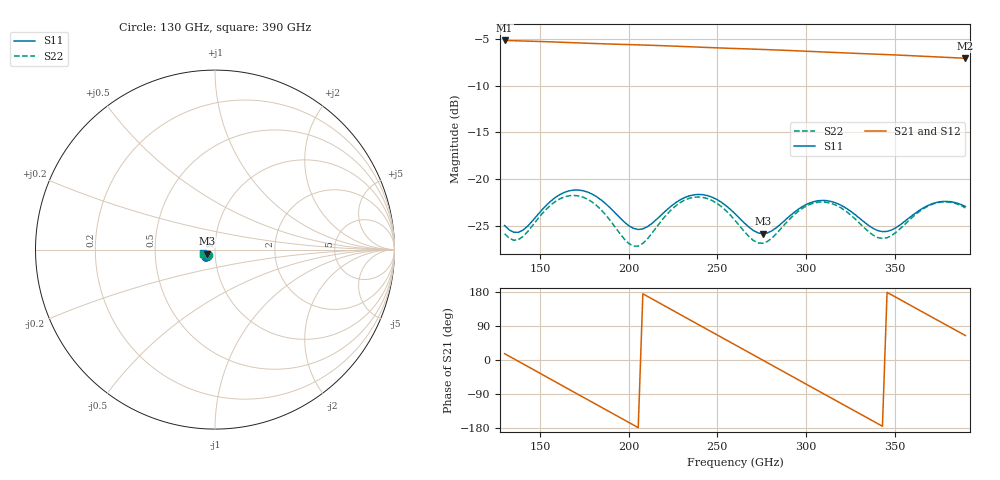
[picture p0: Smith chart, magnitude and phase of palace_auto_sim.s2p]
#  GHZ S DB R 50
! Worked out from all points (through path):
!   101 points, 130 GHz to 390 GHz, reference 50 ohm
!   highest |S21| = -5.18 dB at 130 GHz (marker M1); lowest = -7.1 dB at 390 GHz (marker M2)
!   group delay of S21, straight-line fit = 7.18 ps
!   lowest |S11| = -25.8 dB at 275.6 GHz (marker M3), VSWR 1.11, Z = 45.5 - j1.99 ohm
!   |S11| at or under -10 dB: start of sweep to end of sweep
!   |S22| runs from -27.1 to -21.7 dB; largest |S21 - S12| = 6.2e-14
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130  -24.94 -144.3  -5.18 16.7  -5.18 16.7  -25.82 -143.9
137.8  -25.67 -131.9  -5.22 -3.5  -5.22 -3.5  -26.45 -129.5
148.2  -23.90 -121.5  -5.28 -30.5  -5.28 -30.5  -24.36 -119.5
161.2  -21.63 -129.1  -5.36 -64.2  -5.36 -64.2  -22.09 -128.9
174.2  -21.22 -144.4  -5.46 -97.9  -5.46 -97.9  -21.91 -145.6
184.6  -22.23 -154.8  -5.53 -124.7  -5.53 -124.7  -23.29 -156.5
197.6  -24.58 -156.0  -5.60 -158.3  -5.60 -158.3  -26.40 -154.4
205.4  -25.37 -147.3  -5.65 -178.5  -5.65 -178.5  -27.14 -139.9
218.4  -23.81 -136.3  -5.73 147.7  -5.73 147.7  -24.46 -127.0
228.8  -22.23 -140.6  -5.81 120.8  -5.81 120.8  -22.53 -133.9
239.2  -21.62 -150.7  -5.89 93.9  -5.89 93.9  -21.90 -146.0
249.6  -22.14 -161.0  -5.96 67.0  -5.96 67.0  -22.55 -157.8
260  -23.68 -166.7  -6.04 40.1  -6.04 40.1  -24.39 -164.0
275.6  -25.82 -154.8  -6.14 -0.2  -6.14 -0.2  -26.84 -147.8
288.6  -24.31 -143.4  -6.23 -33.9  -6.23 -33.9  -24.71 -135.0
304.2  -22.40 -150.8  -6.36 -74.2  -6.36 -74.2  -22.55 -144.7
322.4  -23.05 -165.5  -6.51 -121.1  -6.51 -121.1  -23.39 -161.2
335.4  -24.93 -165.5  -6.61 -154.7  -6.61 -154.7  -25.60 -160.5
348.4  -25.42 -152.3  -6.71 171.8  -6.71 171.8  -26.01 -143.9
358.8  -24.04 -146.9  -6.80 144.9  -6.80 144.9  -24.28 -138.2
371.8  -22.58 -152.5  -6.92 111.4  -6.92 111.4  -22.63 -145.0
390  -22.91 -165.9  -7.08 64.6  -7.08 64.6  -23.05 -159.6
